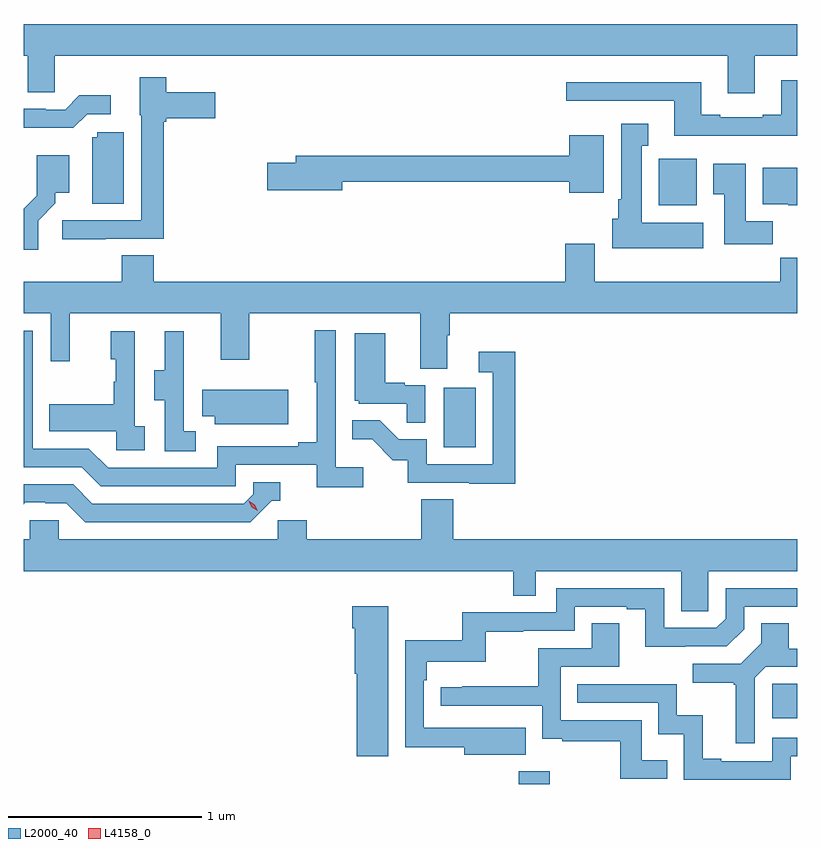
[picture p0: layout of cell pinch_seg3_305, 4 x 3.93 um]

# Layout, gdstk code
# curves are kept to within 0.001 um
import gdstk
lib = gdstk.Library(unit=1e-6, precision=1e-09)
def R(c, l, rs):  # rectangles x0, y0, x1, y1
    for r in rs: c.add(gdstk.rectangle(r[:2], r[2:], *l))
def P(c, l, *ps):  # polygons
    for p in ps: c.add(gdstk.Polygon(p, *l))
L2000_40 = (2000, 40)
L4158_0 = (4158, 0)

pinch_seg3_305 = lib.new_cell('pinch_seg3_305')
R(pinch_seg3_305, L2000_40, [(986.927,713.136,987.087,713.203), (988.236,713.475,988.367,713.655), (986.54,714.876,986.704,715.183), (987.65,716.126,987.847,716.368)])
P(pinch_seg3_305, L2000_40, [(988.147,716.9),(988.367,716.9),(988.367,717.064),(984.367,717.064),(984.367,716.9),(984.389,716.9),(984.389,716.71),(984.528,716.71),(984.528,716.9),(988.007,716.9),(988.007,716.706),(988.147,716.706)],
  [(984.791,715.953),(985.091,715.953),(985.091,716.558),(985.104,716.558),(985.104,716.576),(985.357,716.576),(985.357,716.71),(985.104,716.71),(985.104,716.788),(984.968,716.788),(984.968,716.592),(984.975,716.592),(984.975,716.049),(984.567,716.049),(984.567,715.951),(984.791,715.951)],
  [(988.367,716.773),(988.283,716.773),(988.283,716.596),(988.187,716.596),(988.187,716.583),(987.967,716.583),(987.967,716.596),(987.871,716.596),(987.871,716.764),(987.171,716.764),(987.171,716.667),(987.731,716.667),(987.731,716.486),(988.367,716.486)],
  [(984.696,716.598),(984.817,716.598),(984.817,716.695),(984.655,716.695),(984.582,716.622),(984.482,716.622),(984.482,716.625),(984.367,716.625),(984.367,716.528),(984.625,716.528)],
  [(987.88,716.038),(987.562,716.038),(987.562,716.435),(987.595,716.435),(987.595,716.548),(987.455,716.548),(987.455,716.158),(987.44,716.158),(987.44,716.058),(987.41,716.058),(987.41,715.904),(987.88,715.904)],
  [(984.886,716.505),(984.747,716.505),(984.747,716.478),(984.722,716.478),(984.722,716.134),(984.886,716.134)],
  [(987.367,716.488),(987.188,716.488),(987.188,716.384),(985.775,716.384),(985.775,716.348),(985.626,716.348),(985.626,716.206),(986.014,716.206),(986.014,716.248),(987.188,716.248),(987.188,716.192),(987.367,716.192)],
  [(984.442,716.047),(984.532,716.137),(984.532,716.192),(984.604,716.192),(984.604,716.386),(984.435,716.386),(984.435,716.177),(984.367,716.109),(984.367,715.896),(984.442,715.896)],
  [(988.238,716.044),(988.099,716.044),(988.099,716.341),(987.932,716.341),(987.932,716.185),(987.989,716.185),(987.989,715.926),(988.238,715.926)],
  [(988.367,716.32),(988.187,716.32),(988.187,716.132),(988.32,716.132),(988.32,716.126),(988.367,716.126)],
  [(984.367,715.568),(984.507,715.568),(984.507,715.32),(984.605,715.32),(984.605,715.568),(985.385,715.568),(985.385,715.329),(985.533,715.329),(985.533,715.568),(986.417,715.568),(986.417,715.282),(986.557,715.282),(986.557,715.456),(986.57,715.456),(986.57,715.568),(988.367,715.568),(988.367,715.856),(988.279,715.856),(988.279,715.732),(987.319,715.732),(987.319,715.927),(987.167,715.927),(987.167,715.732),(985.04,715.732),(985.04,715.868),(984.875,715.868),(984.875,715.732),(984.367,715.732)],
  [(986.122,714.772),(985.98,714.772),(985.98,715.48),(985.872,715.48),(985.872,715.213),(985.883,715.213),(985.883,714.902),(985.787,714.902),(985.787,714.882),(985.368,714.882),(985.368,714.771),(984.804,714.771),(984.705,714.87),(984.414,714.87),(984.414,715.479),(984.367,715.479),(984.367,714.774),(984.668,714.774),(984.767,714.675),(985.464,714.675),(985.464,714.786),(985.883,714.786),(985.883,714.67),(986.122,714.67)],
  [(985.258,714.959),(985.194,714.959),(985.194,715.263),(985.196,715.263),(985.196,715.477),(985.097,715.477),(985.097,715.275),(985.043,715.275),(985.043,715.12),(985.098,715.12),(985.098,714.856),(985.258,714.856)],
  [(984.994,714.986),(984.942,714.986),(984.942,715.477),(984.818,715.477),(984.818,715.332),(984.844,715.332),(984.844,715.214),(984.834,715.214),(984.834,715.099),(984.499,715.099),(984.499,714.959),(984.846,714.959),(984.846,714.861),(984.994,714.861)],
  [(986.442,715.197),(986.336,715.197),(986.336,715.21),(986.236,715.21),(986.236,715.465),(986.078,715.465),(986.078,715.116),(986.1,715.116),(986.1,715.101),(986.347,715.101),(986.347,715.003),(986.442,715.003)],
  [(986.909,715.369),(986.721,715.369),(986.721,715.263),(986.793,715.263),(986.793,714.789),(986.451,714.789),(986.451,714.918),(986.307,714.918),(986.209,715.016),(986.065,715.016),(986.065,714.917),(986.169,714.917),(986.276,714.81),(986.353,714.81),(986.353,714.693),(986.671,714.693),(986.671,714.688),(986.909,714.688)],
  [(985.735,715.174),(985.291,715.174),(985.291,715.037),(985.355,715.037),(985.355,714.995),(985.735,714.995)],
  [(985.65,714.6),(985.693,714.6),(985.693,714.696),(985.554,714.696),(985.554,714.633),(985.506,714.585),(984.723,714.585),(984.624,714.684),(984.367,714.684),(984.367,714.581),(984.377,714.591),(984.48,714.591),(984.48,714.588),(984.587,714.588),(984.686,714.489),(985.539,714.489)],
  [(987.906,714.236),(988.367,714.236),(988.367,714.4),(986.588,714.4),(986.588,714.608),(986.423,714.608),(986.423,714.4),(985.832,714.4),(985.832,714.498),(985.68,714.498),(985.68,714.4),(984.549,714.4),(984.549,714.498),(984.399,714.498),(984.399,714.4),(984.367,714.4),(984.367,714.236),(986.899,714.236),(986.899,714.109),(987.015,714.109),(987.015,714.236),(987.767,714.236),(987.767,714.028),(987.906,714.028)],
  [(986.963,713.428),(986.436,713.427),(986.436,713.672),(986.45,713.672),(986.45,713.768),(986.755,713.768),(986.755,713.923),(986.951,713.923),(986.951,713.928),(987.216,713.928),(987.216,714.051),(987.485,714.051),(987.485,714.039),(987.581,714.039),(987.581,713.846),(988.002,713.847),(988.092,713.937),(988.092,714.051),(988.367,714.051),(988.367,714.147),(987.996,714.147),(987.996,713.991),(987.948,713.943),(987.678,713.943),(987.678,714.147),(987.12,714.147),(987.12,714.024),(986.634,714.024),(986.634,713.878),(986.34,713.878),(986.34,713.326),(986.645,713.326),(986.645,713.288),(986.963,713.288)],
  [(986.251,714.055),(986.066,714.055),(986.066,713.942),(986.078,713.942),(986.078,713.706),(986.09,713.706),(986.09,713.28),(986.251,713.28)],
  [(987.695,713.26),(987.561,713.26),(987.561,713.466),(987.144,713.466),(987.144,713.742),(987.445,713.742),(987.445,713.966),(987.305,713.966),(987.305,713.838),(987.028,713.838),(987.028,713.642),(986.635,713.642),(986.635,713.637),(986.523,713.637),(986.523,713.541),(987.048,713.541),(987.048,713.369),(987.151,713.369),(987.151,713.358),(987.45,713.358),(987.45,713.163),(987.695,713.163)],
  [(988.146,713.685),(988.203,713.742),(988.367,713.742),(988.367,713.834),(988.321,713.834),(988.321,713.966),(988.181,713.966),(988.181,713.864),(988.074,713.757),(987.825,713.757),(987.825,713.66),(988.038,713.66),(988.038,713.649),(988.049,713.649),(988.049,713.346),(988.146,713.346)],
  [(988.332,713.28),(988.367,713.28),(988.367,713.376),(988.236,713.376),(988.236,713.253),(987.973,713.253),(987.973,713.266),(987.877,713.266),(987.877,713.491),(987.744,713.491),(987.744,713.652),(987.229,713.652),(987.229,713.556),(987.648,713.556),(987.648,713.393),(987.78,713.393),(987.78,713.157),(988.332,713.157)])
P(pinch_seg3_305, L4158_0, [(985.577,714.547),(985.547,714.567),(985.531,714.6),(985.531,714.6),(985.532,714.6),(985.562,714.58),(985.577,714.548),(985.577,714.547)])

lib.write_gds('pinch_seg3_305.gds')
